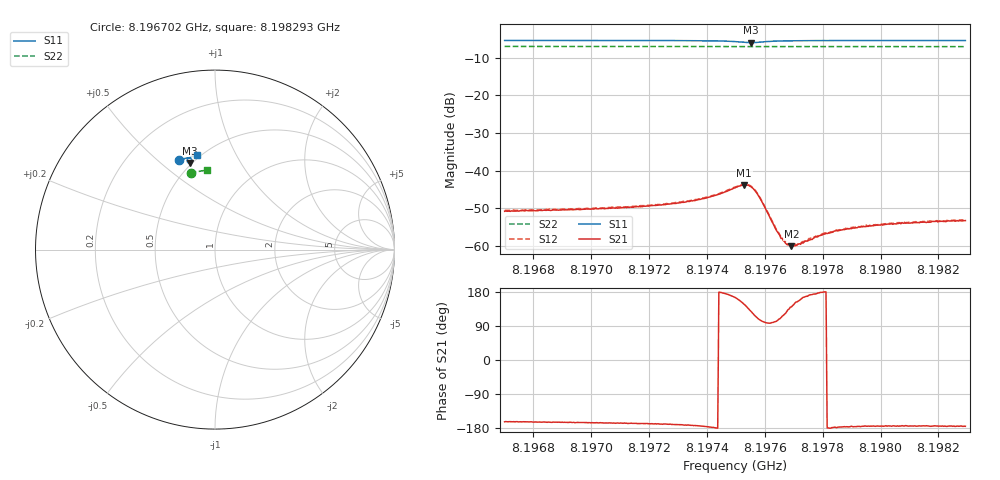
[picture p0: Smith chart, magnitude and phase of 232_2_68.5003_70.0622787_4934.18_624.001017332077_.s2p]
#  HZ  S  RI  R  50.00
! Rohde & Schwarz Vector Network Analyzer
! Rohde-Schwarz,ZNB20-2Port,1311601062101988,3.16
! Created: UTC 3/20/2024, 5:14:06 PM
! freq[Hz]  re:S11  im:S11  re:S21  im:S21  re:S12  im:S12  re:S22  im:S22
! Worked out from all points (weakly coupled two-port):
!   401 points, 8.196702 GHz to 8.198293 GHz, reference 50 ohm
!   highest |S21| = -43.75 dB at 8.197529 GHz (marker M1); lowest = -60.0 dB at 8.197692 GHz (marker M2)
!   lowest |S11| = -6.0 dB at 8.197553 GHz (marker M3), VSWR 3.01, Z = 24.5 + j31.6 ohm
!   |S11| at or under -10 dB: nowhere
!   |S22| runs from -7.1 to -7.0 dB; largest |S21 - S12| = 0.0003
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8.1967023e9  -0.2018 0.4969  -0.00277 -0.00084  -0.00287 -0.000777  -0.1346 0.4259
8.1969687e9  -0.1829 0.5036  -0.00297 -0.000787  -0.00307 -0.000685  -0.1201 0.4299
8.1972352e9  -0.1624 0.5096  -0.00345 -0.000677  -0.00352 -0.000567  -0.1053 0.4333
8.1973743e9  -0.1488 0.5113  -0.00414 -0.000447  -0.00422 -0.000315  -0.0977 0.4348
8.197438e9  -0.1402 0.5102  -0.00482 -1.5e-05  -0.00491 0.000181  -0.0939 0.4354
8.1974976e9  -0.1299 0.5019  -0.00572 0.00153  -0.00577 0.00182  -0.0904 0.4356
8.1975294e9  -0.1293 0.4901  -0.00543 0.00356  -0.00537 0.00378  -0.0888 0.4358
8.1975533e9  -0.1381 0.4821  -0.00377 0.00482  -0.00363 0.00506  -0.0879 0.4358
8.1975652e9  -0.1444 0.4817  -0.00256 0.00487  -0.00245 0.00508  -0.0875 0.4359
8.1975811e9  -0.1514 0.4855  -0.00132 0.0043  -0.00119 0.00447  -0.0866 0.4361
8.1976328e9  -0.1545 0.5015  -0.000334 0.00182  -0.000261 0.00191  -0.0838 0.4371
8.1976567e9  -0.1522 0.5061  -0.000472 0.00117  -0.00048 0.00122  -0.0823 0.4372
8.1976726e9  -0.1503 0.5082  -0.000601 0.000904  -0.000589 0.000977  -0.0817 0.4376
8.1976845e9  -0.1488 0.5095  -0.000731 0.000736  -0.000679 0.000826  -0.0809 0.4376
8.1976925e9  -0.148 0.5103  -0.000765 0.000639  -0.000784 0.000687  -0.0804 0.4377
8.1977163e9  -0.1453 0.5121  -0.000968 0.00044  -0.000964 0.000464  -0.0791 0.438
8.1977641e9  -0.1404 0.5149  -0.00121 0.000158  -0.00127 0.000185  -0.0764 0.4384
8.1978038e9  -0.1366 0.5164  -0.00144 1.12e-05  -0.00147 8.35e-05  -0.074 0.4388
8.1978476e9  -0.1327 0.5177  -0.00161 -3.74e-05  -0.00164 3.98e-05  -0.0716 0.4391
8.1979032e9  -0.128 0.5193  -0.00173 -0.000129  -0.00177 -6.81e-05  -0.0686 0.4394
8.1980305e9  -0.118 0.5218  -0.00194 -0.000204  -0.002 -0.00011  -0.0613 0.4403
8.198293e9  -0.0984 0.5258  -0.00217 -0.00019  -0.0022 -7.89e-05  -0.0463 0.4417
